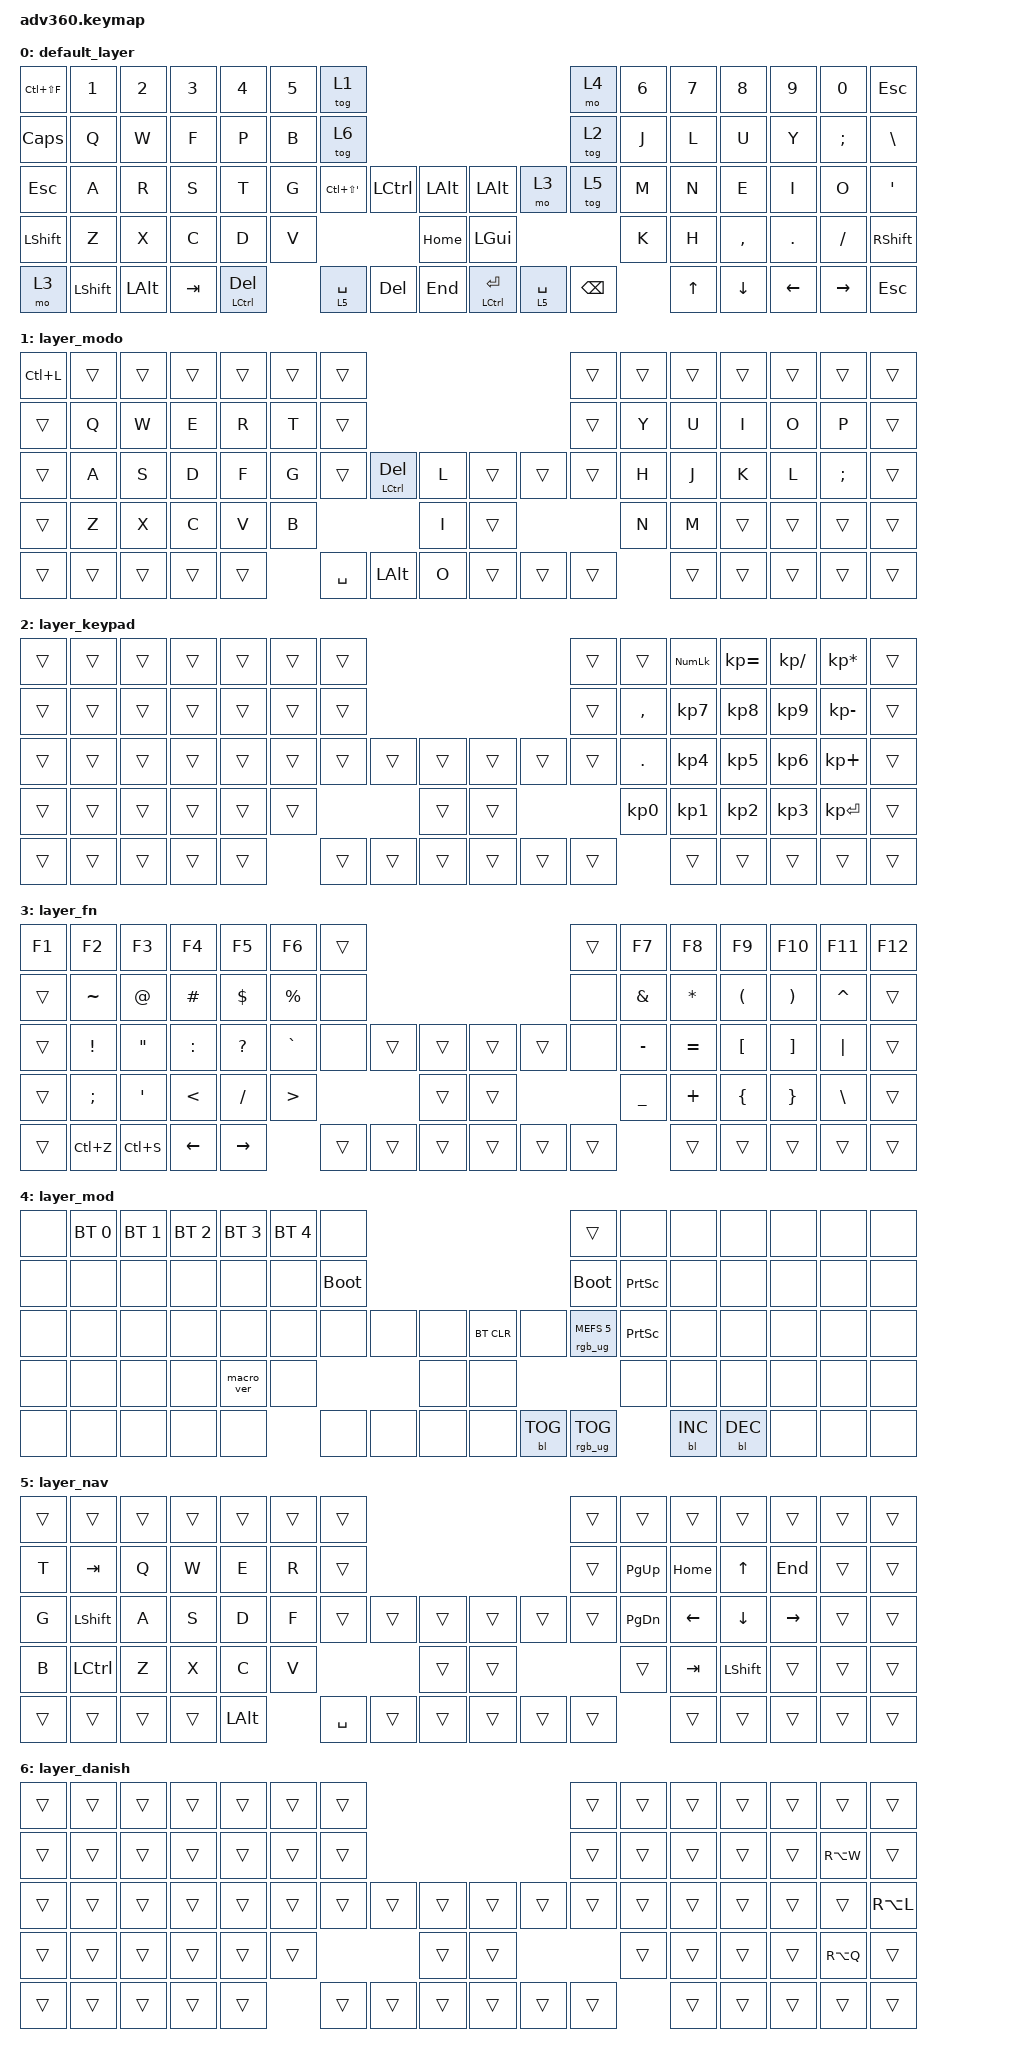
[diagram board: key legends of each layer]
/*
 * Copyright (c) 2020 The ZMK Contributors
 *
 * SPDX-License-Identifier: MIT
 */
/* THIS FILE WAS GENERATED!
 *
 * This file was generated automatically. You may or may not want to
 * edit it directly.
 */

#include <behaviors.dtsi>
#include <dt-bindings/zmk/backlight.h>
#include <dt-bindings/zmk/bt.h>
#include <dt-bindings/zmk/keys.h>
#include <dt-bindings/zmk/rgb.h>

/ {
    behaviors {
        #include "macros.dtsi"
    #include "version.dtsi"

        hm: homerow_mods {
            compatible = "zmk,behavior-hold-tap";
            label = "HOMEROW_MODS";
            #binding-cells = <2>;
            tapping-term-ms = <200>;
            quick_tap_ms = <175>;
            flavor = "tap-preferred";
            bindings = <&kp>, <&kp>;
        };
    };

    keymap {
        compatible = "zmk,keymap";

        default_layer {
            bindings = <
&kp LC(LS(F))  &kp N1          &kp N2        &kp N3   &kp N4            &kp N5  &tog 1                                                                  &mo 4          &kp N6  &kp N7  &kp N8     &kp N9    &kp N0     &kp ESC
&kp CAPS       &kp Q           &kp W         &kp F    &kp P             &kp B   &tog 6                                                                  &tog 2         &kp J   &kp L   &kp U      &kp Y     &kp SEMI   &kp BSLH
&kp ESC        &kp A           &kp R         &kp S    &kp T             &kp G   &kp LC(LS(SQT))  &kp LCTRL  &kp LALT      &kp LALT         &mo 3        &tog 5         &kp M   &kp N   &kp E      &kp I     &kp O      &kp SQT
&kp LSHFT      &kp Z           &kp X         &kp C    &kp D             &kp V                               &kp HOME      &kp LEFT_GUI                                 &kp K   &kp H   &kp COMMA  &kp DOT   &kp FSLH   &kp RSHFT
&mo 3          &kp LEFT_SHIFT  &kp LEFT_ALT  &kp TAB  &mt LCTRL DELETE          &lt 5 SPACE      &kp DEL    &kp END       &mt LCTRL ENTER  &lt 5 SPACE  &kp BACKSPACE          &kp UP  &kp DOWN   &kp LEFT  &kp RIGHT  &kp ESC
            >;
        };

        layer_modo {
            bindings = <
&kp LC(L)  &trans  &trans  &trans  &trans  &trans  &trans                                               &trans  &trans  &trans  &trans  &trans  &trans    &trans
&trans     &kp Q   &kp W   &kp E   &kp R   &kp T   &trans                                               &trans  &kp Y   &kp U   &kp I   &kp O   &kp P     &trans
&trans     &kp A   &kp S   &kp D   &kp F   &kp G   &trans     &mt LCTRL DEL  &kp L      &trans  &trans  &trans  &kp H   &kp J   &kp K   &kp L   &kp SEMI  &trans
&trans     &kp Z   &kp X   &kp C   &kp V   &kp B                             &kp I      &trans                  &kp N   &kp M   &trans  &trans  &trans    &trans
&trans     &trans  &trans  &trans  &trans          &kp SPACE  &kp LALT       &kp O      &trans  &trans  &trans          &trans  &trans  &trans  &trans    &trans
            >;
        };

        layer_keypad {
            bindings = <
&trans  &trans  &trans  &trans  &trans  &trans  &trans                                      &trans  &trans     &kp KP_NUM  &kp KP_EQUAL  &kp KP_DIVIDE  &kp KP_MULTIPLY  &trans
&trans  &trans  &trans  &trans  &trans  &trans  &trans                                      &trans  &kp COMMA  &kp KP_N7   &kp KP_N8     &kp KP_N9      &kp KP_MINUS     &trans
&trans  &trans  &trans  &trans  &trans  &trans  &trans  &trans  &trans      &trans  &trans  &trans  &kp DOT    &kp KP_N4   &kp KP_N5     &kp KP_N6      &kp KP_PLUS      &trans
&trans  &trans  &trans  &trans  &trans  &trans                  &trans      &trans                  &kp KP_N0  &kp KP_N1   &kp KP_N2     &kp KP_N3      &kp KP_ENTER     &trans
&trans  &trans  &trans  &trans  &trans          &trans  &trans  &trans      &trans  &trans  &trans             &trans      &trans        &trans         &trans           &trans
            >;
        };

        layer_fn {
            bindings = <
&kp F1  &kp F2           &kp F3             &kp F4         &kp F5        &kp F6            &trans                                      &trans  &kp F7          &kp F8        &kp F9                &kp F10                &kp F11        &kp F12
&trans  &kp TILDE        &kp AT_SIGN        &kp HASH       &kp DOLLAR    &kp PERCENT       &none                                       &none   &kp AMPERSAND   &kp ASTERISK  &kp LEFT_PARENTHESIS  &kp RIGHT_PARENTHESIS  &kp CARET      &trans
&trans  &kp EXCLAMATION  &kp DOUBLE_QUOTES  &kp COLON      &kp QUESTION  &kp GRAVE         &none   &trans  &trans      &trans  &trans  &none   &kp MINUS       &kp EQUAL     &kp LEFT_BRACKET      &kp RIGHT_BRACKET      &kp PIPE       &trans
&trans  &kp SEMICOLON    &kp SINGLE_QUOTE   &kp LESS_THAN  &kp SLASH     &kp GREATER_THAN                  &trans      &trans                  &kp UNDERSCORE  &kp PLUS      &kp LEFT_BRACE        &kp RIGHT_BRACE        &kp BACKSLASH  &trans
&trans  &kp LC(Z)        &kp LC(S)          &kp LEFT       &kp RIGHT                       &trans  &trans  &trans      &trans  &trans  &trans                  &trans        &trans                &trans                 &trans         &trans
            >;
        };

        layer_mod {
            bindings = <
&none  &bt BT_SEL 0  &bt BT_SEL 1  &bt BT_SEL 2  &bt BT_SEL 3  &bt BT_SEL 4  &none                                                  &trans                  &none            &none       &none       &none  &none  &none
&none  &none         &none         &none         &none         &none         &bootloader                                            &bootloader             &kp PRINTSCREEN  &none       &none       &none  &none  &none
&none  &none         &none         &none         &none         &none         &none        &none  &none      &bt BT_CLR  &none       &rgb_ug RGB_MEFS_CMD 5  &kp PRINTSCREEN  &none       &none       &none  &none  &none
&none  &none         &none         &none         &macro_ver    &none                             &none      &none                                           &none            &none       &none       &none  &none  &none
&none  &none         &none         &none         &none                       &none        &none  &none      &none       &bl BL_TOG  &rgb_ug RGB_TOG                          &bl BL_INC  &bl BL_DEC  &none  &none  &none
            >;
        };

        layer_nav {
            bindings = <
&trans  &trans      &trans  &trans  &trans    &trans  &trans                                         &trans  &trans         &trans    &trans          &trans     &trans  &trans
&kp T   &kp TAB     &kp Q   &kp W   &kp E     &kp R   &trans                                         &trans  &kp PAGE_UP    &kp HOME  &kp UP_ARROW    &kp END    &trans  &trans
&kp G   &kp LSHIFT  &kp A   &kp S   &kp D     &kp F   &trans     &trans  &trans      &trans  &trans  &trans  &kp PAGE_DOWN  &kp LEFT  &kp DOWN_ARROW  &kp RIGHT  &trans  &trans
&kp B   &kp LCTRL   &kp Z   &kp X   &kp C     &kp V                      &trans      &trans                  &trans         &kp TAB   &kp LEFT_SHIFT  &trans     &trans  &trans
&trans  &trans      &trans  &trans  &kp LALT          &kp SPACE  &trans  &trans      &trans  &trans  &trans                 &trans    &trans          &trans     &trans  &trans
            >;
        };

        layer_danish {
            bindings = <
&trans  &trans  &trans  &trans  &trans  &trans  &trans                                      &trans  &trans  &trans  &trans  &trans  &trans     &trans
&trans  &trans  &trans  &trans  &trans  &trans  &trans                                      &trans  &trans  &trans  &trans  &trans  &kp RA(W)  &trans
&trans  &trans  &trans  &trans  &trans  &trans  &trans  &trans  &trans      &trans  &trans  &trans  &trans  &trans  &trans  &trans  &trans     &kp RA(L)
&trans  &trans  &trans  &trans  &trans  &trans                  &trans      &trans                  &trans  &trans  &trans  &trans  &kp RA(Q)  &trans
&trans  &trans  &trans  &trans  &trans          &trans  &trans  &trans      &trans  &trans  &trans          &trans  &trans  &trans  &trans     &trans
            >;
        };
    };
};
